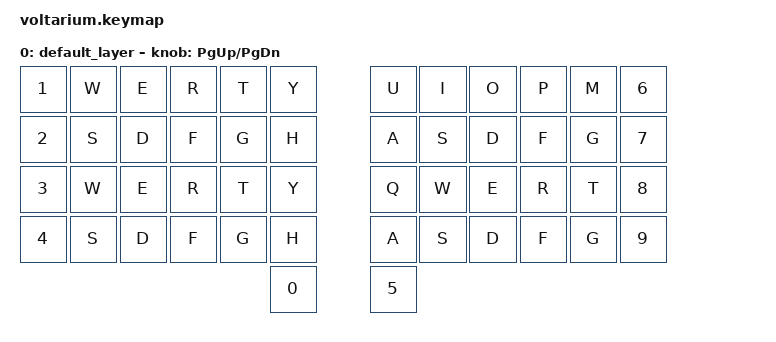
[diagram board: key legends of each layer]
#include <behaviors.dtsi>
#include <dt-bindings/zmk/keys.h>

/ {
	behaviors {
		rot_kp: sensor_rotate_kp {
			compatible = "zmk,behavior-sensor-rotate-var";
			#sensor-binding-cells = <2>;
			bindings = <&kp>, <&kp>;
		};
	};

	keymap {
		compatible = "zmk,keymap";
		
		default_layer {
			bindings = <
				&kp N1 &kp W &kp E &kp R &kp T &kp Y &kp U &kp I &kp O &kp P &kp M &kp N6
				&kp N2 &kp S &kp D &kp F &kp G &kp H &kp A &kp S &kp D &kp F &kp G &kp N7
				&kp N3 &kp W &kp E &kp R &kp T &kp Y &kp Q &kp W &kp E &kp R &kp T &kp N8
				&kp N4 &kp S &kp D &kp F &kp G &kp H &kp A &kp S &kp D &kp F &kp G &kp N9
				&kp N0 &kp N5
			>;
			sensor-bindings = <&rot_kp PG_UP PG_DN>;
		};
	};
};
